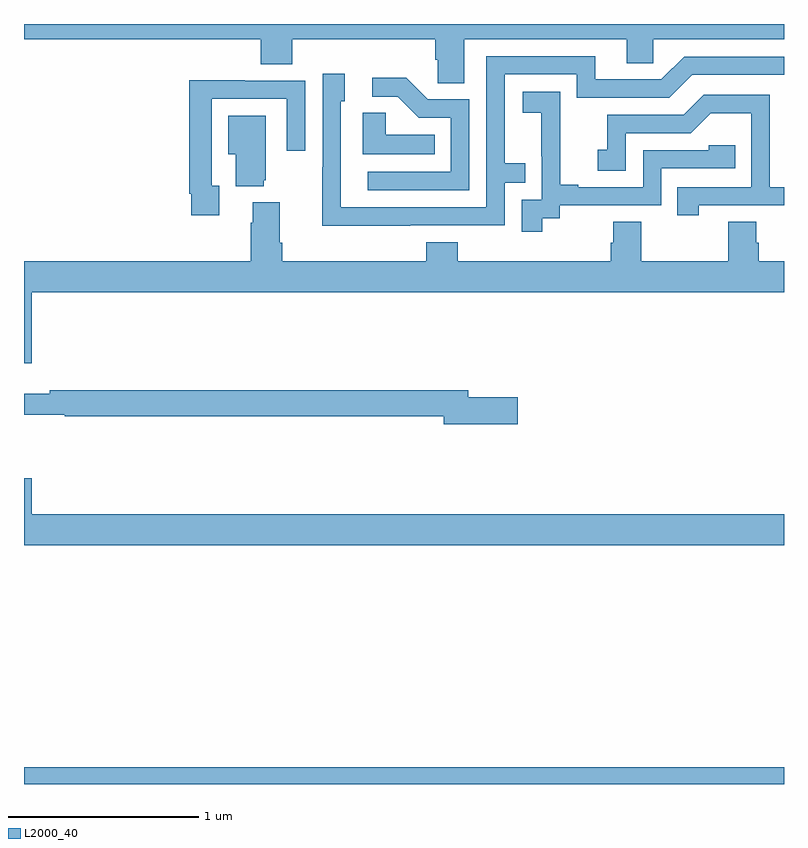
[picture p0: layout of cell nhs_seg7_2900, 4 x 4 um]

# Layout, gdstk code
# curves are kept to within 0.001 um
import gdstk
lib = gdstk.Library(unit=1e-6, precision=1e-09)
def R(c, l, rs):  # rectangles x0, y0, x1, y1
    for r in rs: c.add(gdstk.rectangle(r[:2], r[2:], *l))
def P(c, l, *ps):  # polygons
    for p in ps: c.add(gdstk.Polygon(p, *l))
L2000_40 = (2000, 40)

nhs_seg7_2900 = lib.new_cell('nhs_seg7_2900')
R(nhs_seg7_2900, L2000_40, [(297,1026,301,1026.088)])
P(nhs_seg7_2900, L2000_40, [(297,1029.92),(298.247,1029.92),(298.247,1029.787),(298.412,1029.787),(298.412,1029.92),(299.165,1029.92),(299.165,1029.811),(299.178,1029.811),(299.178,1029.688),(299.317,1029.688),(299.317,1029.92),(300.173,1029.92),(300.173,1029.793),(300.312,1029.793),(300.312,1029.92),(301,1029.92),(301,1030),(297,1030)],
  [(299.033,1028.94),(299.529,1028.94),(299.529,1029.165),(299.639,1029.165),(299.639,1029.266),(299.529,1029.266),(299.529,1029.735),(299.91,1029.735),(299.91,1029.612),(300.396,1029.612),(300.516,1029.732),(301,1029.732),(301,1029.828),(300.474,1029.828),(300.354,1029.708),(300.007,1029.708),(300.007,1029.831),(299.433,1029.831),(299.433,1029.036),(298.668,1029.036),(298.668,1029.594),(298.687,1029.594),(298.687,1029.739),(298.572,1029.739),(298.572,1029.245),(298.57,1029.245),(298.57,1028.939)],
  [(299.343,1029.603),(299.124,1029.603),(299.011,1029.716),(298.833,1029.716),(298.833,1029.618),(298.967,1029.618),(299.078,1029.507),(299.247,1029.507),(299.247,1029.222),(298.809,1029.222),(298.809,1029.126),(299.343,1029.126)],
  [(298.027,1029.15),(297.987,1029.15),(297.987,1029.606),(298.383,1029.606),(298.383,1029.333),(298.479,1029.333),(298.479,1029.702),(298.163,1029.702),(298.163,1029.704),(297.871,1029.704),(297.871,1029.106),(297.879,1029.106),(297.879,1028.994),(298.027,1028.994)],
  [(299.728,1028.977),(299.82,1028.977),(299.82,1029.045),(300.354,1029.045),(300.354,1029.24),(300.743,1029.24),(300.743,1029.363),(300.603,1029.363),(300.603,1029.336),(300.258,1029.336),(300.258,1029.141),(299.917,1029.141),(299.917,1029.154),(299.822,1029.154),(299.822,1029.437),(299.823,1029.437),(299.823,1029.643),(299.625,1029.643),(299.625,1029.533),(299.723,1029.533),(299.723,1029.305),(299.724,1029.305),(299.724,1029.075),(299.619,1029.075),(299.619,1028.907),(299.728,1028.907)],
  [(300.55,1029.045),(301,1029.045),(301,1029.141),(300.924,1029.141),(300.924,1029.627),(300.578,1029.627),(300.473,1029.522),(300.07,1029.522),(300.07,1029.337),(300.021,1029.337),(300.021,1029.228),(300.168,1029.228),(300.168,1029.426),(300.51,1029.426),(300.614,1029.53),(300.828,1029.53),(300.828,1029.141),(300.439,1029.141),(300.439,1028.994),(300.55,1028.994)],
  [(299.162,1029.418),(298.905,1029.418),(298.905,1029.533),(298.784,1029.533),(298.784,1029.314),(299.162,1029.314)],
  [(298.262,1029.177),(298.273,1029.177),(298.273,1029.517),(298.076,1029.517),(298.076,1029.314),(298.115,1029.314),(298.115,1029.146),(298.262,1029.146)],
  [(300.853,1028.85),(300.853,1028.96),(300.706,1028.96),(300.706,1028.752),(300.249,1028.752),(300.249,1028.96),(300.101,1028.96),(300.101,1028.85),(300.089,1028.85),(300.089,1028.752),(299.282,1028.752),(299.282,1028.851),(299.117,1028.851),(299.117,1028.752),(298.358,1028.752),(298.358,1028.848),(298.345,1028.848),(298.345,1029.061),(298.205,1029.061),(298.205,1028.954),(298.193,1028.954),(298.193,1028.752),(297,1028.752),(297,1028.214),(297.04,1028.214),(297.04,1028.588),(301,1028.588),(301,1028.752),(300.866,1028.752),(300.866,1028.85)],
  [(299.599,1028.036),(299.338,1028.036),(299.338,1028.072),(297.136,1028.072),(297.136,1028.053),(297,1028.053),(297,1027.944),(297.214,1027.944),(297.214,1027.936),(299.21,1027.936),(299.21,1027.894),(299.599,1027.894)],
  [(301,1027.42),(297.04,1027.42),(297.04,1027.609),(297,1027.609),(297,1027.256),(301,1027.256)])

lib.write_gds('nhs_seg7_2900.gds')
